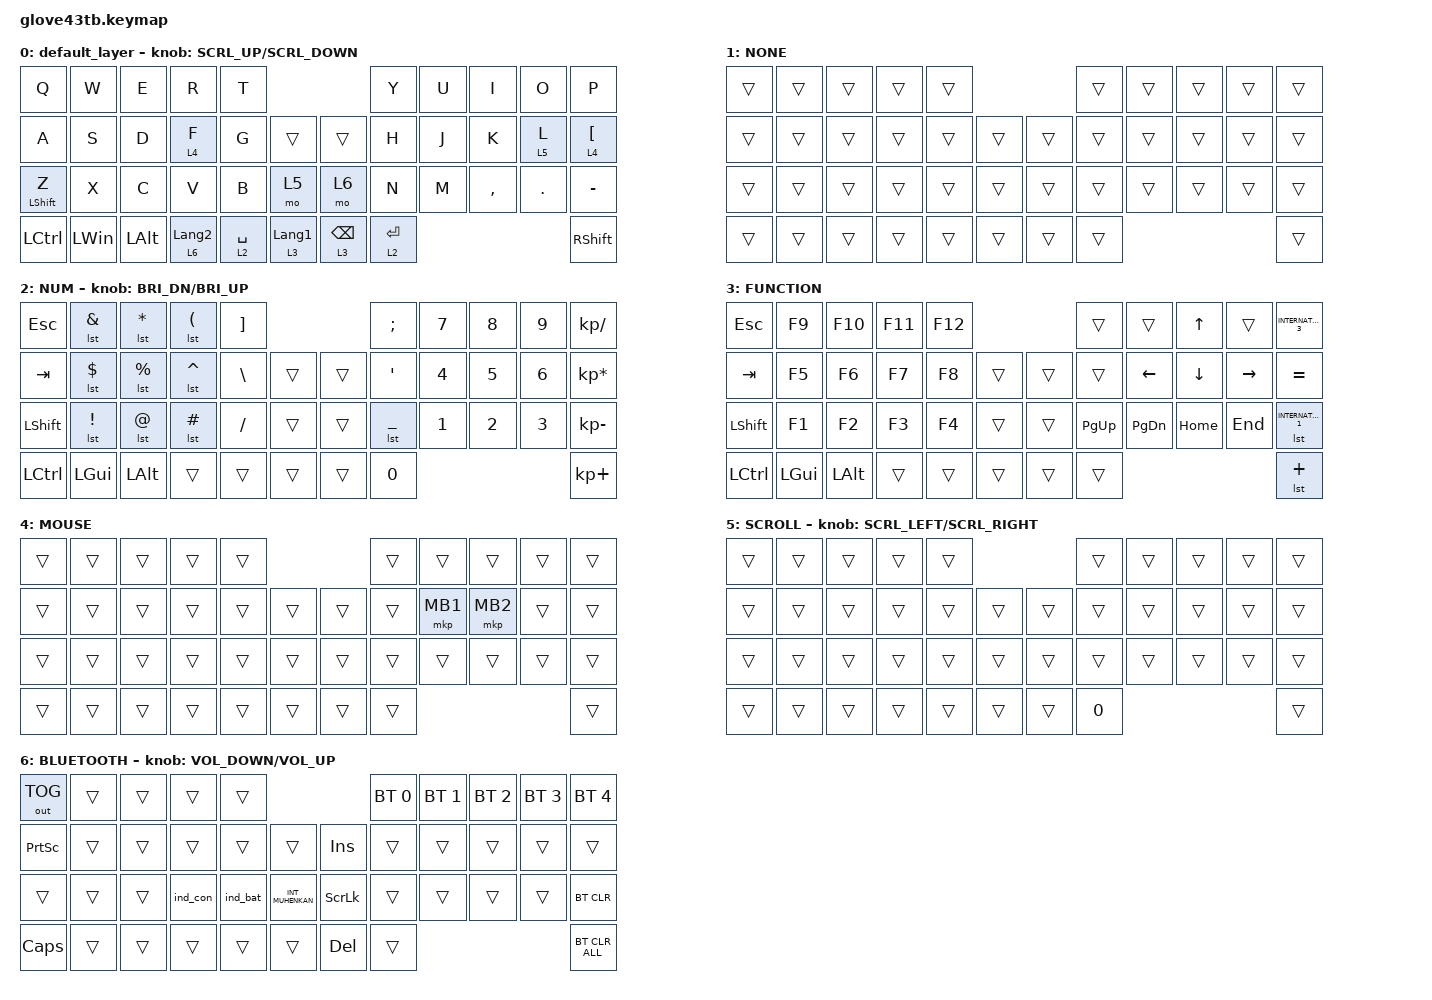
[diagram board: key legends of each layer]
#define ZMK_POINTING_DEFAULT_SCRL_VAL 150

#include <behaviors/rgbled_widget.dtsi>
#include <dt-bindings/zmk/input_transform.h>
#include <input/processors.dtsi>
#include <zephyr/dt-bindings/input/input-event-codes.h>
#include <behaviors.dtsi>
#include <dt-bindings/zmk/bt.h>
#include <dt-bindings/zmk/keys.h>
#include <dt-bindings/zmk/outputs.h>
#include <dt-bindings/zmk/pointing.h>

&lt { quick-tap-ms = <200>; };

&mt {
    quick-tap-ms = <200>;
    flavor = "balanced";
    hold-while-undecided;
};

&mmv {
    delay-ms = <20>;
    trigger-period-ms = <5>;
    time-to-max-speed-ms = <100>;
    acceleration-exponent = <2>;
};

&msc {
    delay-ms = <3>;
    trigger-period-ms = <3>;
    time-to-max-speed-ms = <100>;
    acceleration-exponent = <0>;
};

&mkp_input_listener {
    /* マウスキー押下で10秒延長 */

    input-processors = <&zip_temp_layer 4 10000>;
};

/ {
    input_processors {
        zip_wheel_scaler: zip_wheel_scaler {
            compatible = "zmk,input-processor-scaler";
            #input-processor-cells = <2>;
            type = <INPUT_EV_REL>;
            codes = <INPUT_REL_WHEEL>;
            track-remainders;
        };
    };
};

/ {
    combos { compatible = "zmk,combos"; };

    macros {
        to_layer_0: to_layer_0 {
            compatible = "zmk,behavior-macro-one-param";
            #binding-cells = <1>;
            bindings = <&to 0 &macro_param_1to1 &kp MACRO_PLACEHOLDER>;
            label = "TO_LAYER_0";
        };

        lst: lst {
            compatible = "zmk,behavior-macro-one-param";
            #binding-cells = <1>;
            bindings =
                <&macro_press>,
                <&kp LSHIFT &macro_param_1to1>,
                <&macro_tap>,
                <&kp MACRO_PLACEHOLDER>,
                <&macro_release>,
                <&kp LSHIFT>;

            label = "lst";
        };

        exit_AML: exit_AML {
            compatible = "zmk,behavior-macro";
            wait-ms = <0>;
            tap-ms = <0>;
            #binding-cells = <0>;
            bindings = <&tog_off 4>;
            label = "exit_AML";
        };

        kp_exit_AML: kp_exit_AML {
            compatible = "zmk,behavior-macro-one-param";
            wait-ms = <0>;
            tap-ms = <0>;
            #binding-cells = <1>;
            bindings = <&macro_param_1to1 &kp MACRO_PLACEHOLDER &exit_AML>;
            label = "KP_exit_AML";
        };
    };

    behaviors {
        lt_to_layer_0: lt_to_layer_0 {
            compatible = "zmk,behavior-hold-tap";
            label = "LAYER_TAP_TO_0";
            bindings = <&mo>, <&to_layer_0>;

            #binding-cells = <2>;
            tapping-term-ms = <200>;
        };

        sensor_rotate_kp: sensor_rotate_kp {
            compatible = "zmk,behavior-sensor-rotate-var";
            #sensor-binding-cells = <2>;
            bindings = <&kp>, <&kp>;
        };

        mouse_wheel_scroll: mouse_wheel_scroll {
            compatible = "zmk,behavior-sensor-rotate-var";
            #sensor-binding-cells = <2>;
            bindings = <&msc>, <&msc>;

            tap-ms = <20>;
        };

        tog_off: toggle_layer_off {
            compatible = "zmk,behavior-toggle-layer";
            #binding-cells = <1>;
            display-name = "Toggle Layer Off";
            toggle-mode = "off";
        };

        /* ホールド時はAML解除せず、タップ時のみ解除 */

        mt_exit_AML_on_tap: mt_exit_AML_on_tap {
            compatible = "zmk,behavior-hold-tap";
            label = "MT_exit_AML_ON_TAP";
            bindings = <&kp>, <&kp_exit_AML>;

            #binding-cells = <2>;
            tapping-term-ms = <200>;
            flavor = "balanced";
            quick-tap-ms = <200>;
        };
    };

    keymap {
        compatible = "zmk,keymap";

        default_layer {
            bindings = <
&kp Q                             &kp W         &kp E         &kp R             &kp T                                               &kp Y        &kp U  &kp I      &kp O    &kp P
&kp A                             &kp S         &kp D         &lt 4 F           &kp G        &trans                &trans           &kp H        &kp J  &kp K      &lt 5 L  &lt 4 LEFT_BRACKET
&mt_exit_AML_on_tap LEFT_SHIFT Z  &kp X         &kp C         &kp V             &kp B        &mo 5                 &mo 6            &kp N        &kp M  &kp COMMA  &kp DOT  &kp MINUS
&kp LCTRL                         &kp LEFT_WIN  &kp LEFT_ALT  &lt 6 LANGUAGE_2  &lt 2 SPACE  &lt 3 LANGUAGE_1      &lt 3 BACKSPACE  &lt 2 ENTER                             &kp RIGHT_SHIFT
            >;

            sensor-bindings = <&mouse_wheel_scroll SCRL_UP SCRL_DOWN>;
        };

        NONE {
            bindings = <
&trans  &trans  &trans  &trans  &trans                      &trans  &trans  &trans  &trans  &trans
&trans  &trans  &trans  &trans  &trans  &trans      &trans  &trans  &trans  &trans  &trans  &trans
&trans  &trans  &trans  &trans  &trans  &trans      &trans  &trans  &trans  &trans  &trans  &trans
&trans  &trans  &trans  &trans  &trans  &trans      &trans  &trans                          &trans
            >;
        };

        NUM {
            bindings = <
&kp ESC    &lst AMPERSAND    &lst ASTERISK  &lst LEFT_PARENTHESIS  &kp RIGHT_BRACKET                      &kp SEMI          &kp N7  &kp N8  &kp N9  &kp KP_SLASH
&kp TAB    &lst DLLR         &lst PERCENT   &lst CARET             &kp BACKSLASH      &trans      &trans  &kp SINGLE_QUOTE  &kp N4  &kp N5  &kp N6  &kp KP_ASTERISK
&kp LSHFT  &lst EXCLAMATION  &lst AT        &lst HASH              &kp FSLH           &trans      &trans  &lst UNDER        &kp N1  &kp N2  &kp N3  &kp KP_MINUS
&kp LCTRL  &kp LGUI          &kp LALT       &trans                 &trans             &trans      &trans  &kp N0                                    &kp KP_PLUS
            >;

            sensor-bindings = <&sensor_rotate_kp C_BRI_DN C_BRI_UP>;
        };

        FUNCTION {
            bindings = <
&kp ESC         &kp F9    &kp F10   &kp F11  &kp F12                      &trans       &trans         &kp UP    &trans     &kp INTERNATIONAL_3
&kp TAB         &kp F5    &kp F6    &kp F7   &kp F8   &trans      &trans  &trans       &kp LEFT       &kp DOWN  &kp RIGHT  &kp EQUAL
&kp LEFT_SHIFT  &kp F1    &kp F2    &kp F3   &kp F4   &trans      &trans  &kp PAGE_UP  &kp PAGE_DOWN  &kp HOME  &kp END    &lst INTERNATIONAL_1
&kp LCTRL       &kp LGUI  &kp LALT  &trans   &trans   &trans      &trans  &trans                                           &lst PLUS
            >;
        };

        MOUSE {
            bindings = <
&trans  &trans  &trans  &trans  &trans                      &trans  &trans    &trans    &trans  &trans
&trans  &trans  &trans  &trans  &trans  &trans      &trans  &trans  &mkp MB1  &mkp MB2  &trans  &trans
&trans  &trans  &trans  &trans  &trans  &trans      &trans  &trans  &trans    &trans    &trans  &trans
&trans  &trans  &trans  &trans  &trans  &trans      &trans  &trans                              &trans
            >;
        };

        SCROLL {
            bindings = <
&trans  &trans  &trans  &trans  &trans                      &trans  &trans  &trans  &trans  &trans
&trans  &trans  &trans  &trans  &trans  &trans      &trans  &trans  &trans  &trans  &trans  &trans
&trans  &trans  &trans  &trans  &trans  &trans      &trans  &trans  &trans  &trans  &trans  &trans
&trans  &trans  &trans  &trans  &trans  &trans      &trans  &kp N0                          &trans
            >;

            sensor-bindings = <&mouse_wheel_scroll SCRL_LEFT SCRL_RIGHT>;
        };

        BLUETOOTH {
            bindings = <
&out OUT_TOG     &trans  &trans  &trans    &trans                                          &bt BT_SEL 0  &bt BT_SEL 1  &bt BT_SEL 2  &bt BT_SEL 3  &bt BT_SEL 4
&kp PRINTSCREEN  &trans  &trans  &trans    &trans    &trans                &kp INSERT      &trans        &trans        &trans        &trans        &trans
&trans           &trans  &trans  &ind_con  &ind_bat  &kp INT_MUHENKAN      &kp SCROLLLOCK  &trans        &trans        &trans        &trans        &bt BT_CLR
&kp CAPS         &trans  &trans  &trans    &trans    &trans                &kp DEL         &trans                                                  &bt BT_CLR_ALL
            >;

            sensor-bindings = <&sensor_rotate_kp C_VOLUME_DOWN C_VOLUME_UP>;
        };
    };
};
